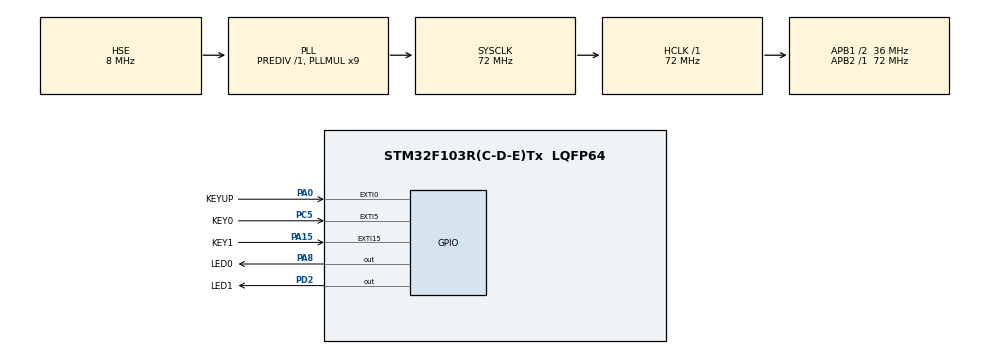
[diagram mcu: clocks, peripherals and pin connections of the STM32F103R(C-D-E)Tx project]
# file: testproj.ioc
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Mcu.Family=STM32F1
Mcu.Name=STM32F103R(C-D-E)Tx
Mcu.Package=LQFP64
NVIC.EXTI0_IRQn=true\:1\:0\:true\:false\:true\:true\:true
NVIC.EXTI15_10_IRQn=true\:1\:2\:true\:false\:true\:true\:true
NVIC.EXTI9_5_IRQn=true\:1\:1\:true\:false\:true\:true\:true
NVIC.PriorityGroup=NVIC_PRIORITYGROUP_2
PA0-WKUP.GPIO_Label=KEYUP
PA0-WKUP.GPIO_PuPd=GPIO_PULLDOWN
PA0-WKUP.Signal=GPXTI0
PA13.Mode=Serial_Wire
PA13.Signal=SYS_JTMS-SWDIO
PA14.Mode=Serial_Wire
PA14.Signal=SYS_JTCK-SWCLK
PA15.GPIO_Label=KEY1
PA15.GPIO_ModeDefaultEXTI=GPIO_MODE_IT_FALLING
PA15.GPIO_PuPd=GPIO_PULLUP
PA15.Signal=GPXTI15
PA8.GPIO_Label=LED0
PA8.Signal=GPIO_Output
PC5.GPIO_Label=KEY0
PC5.GPIO_ModeDefaultEXTI=GPIO_MODE_IT_FALLING
PC5.GPIO_PuPd=GPIO_PULLUP
PC5.Signal=GPXTI5
PD0-OSC_IN.Mode=HSE-External-Oscillator
PD0-OSC_IN.Signal=RCC_OSC_IN
PD1-OSC_OUT.Mode=HSE-External-Oscillator
PD1-OSC_OUT.Signal=RCC_OSC_OUT
PD2.GPIO_Label=LED1
PD2.Signal=GPIO_Output
ProjectManager.HeapSize=0x200
ProjectManager.StackSize=0x400
ProjectManager.TargetToolchain=STM32CubeIDE
RCC.AHBFreq_Value=72000000
RCC.APB1CLKDivider=RCC_HCLK_DIV2
RCC.APB1Freq_Value=36000000
RCC.APB1TimFreq_Value=72000000
RCC.APB2Freq_Value=72000000
RCC.APB2TimFreq_Value=72000000
RCC.HCLKFreq_Value=72000000
RCC.PLLMUL=RCC_PLL_MUL9
RCC.PLLSourceVirtual=RCC_PLLSOURCE_HSE
RCC.SYSCLKFreq_VALUE=72000000
RCC.SYSCLKSource=RCC_SYSCLKSOURCE_PLLCLK
RCC.USBFreq_Value=72000000
board=custom

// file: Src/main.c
/* USER CODE BEGIN Header */
/**
  ******************************************************************************
  * @file           : main.c
  * @brief          : Main program body
  ******************************************************************************
  * @attention
  *
  * <h2><center>&copy; Copyright (c) 2019 STMicroelectronics.
  * All rights reserved.</center></h2>
  *
  * This software component is licensed by ST under BSD 3-Clause license,
  * the "License"; You may not use this file except in compliance with the
  * License. You may obtain a copy of the License at:
  *                        opensource.org/licenses/BSD-3-Clause
  *
  ******************************************************************************
  */
/*rules
 * eliminate all enemy then go to next roundit,and roundit++
 * rank=(roundit-3)>=1?(roundit-3):1;speed=rank;enemynum=roundit<=5?(roundit+2):7;
 * enemy hit:red blink,score+1
 * you hit:green blink,roundit=1,life-1,restart
 * for each restart:
 * 		if life=0 then go to next stage and print score
 * 		else ...
 * 	for each roundit:
 * 		calculate rank,speed,enemynum
 * 		prepare enemy*/
/* USER CODE END Header */

#include "main.h"
#include "gpio.h"

/* USER CODE BEGIN Includes */
#include "lcd.h"
#include <stdlib.h>
#include <stdio.h>
#include<time.h>
/* USER CODE END Includes */

void SystemClock_Config(void);

/* USER CODE BEGIN 0 */
void startpage(void);
void endpage(void);
void play(void);
void HAL_GPIO_EXTI_Callback(uint16_t GPIO_Pin);
void init_eachround(void);
void paintall(void);
void paintscore(int x,int y,int size);
void updatebullets();
void movebullets();
void moveplanes();
void updateenemy();
void hitit();
void updateenemybullets();
void moveenemybullets();
void paintenemybullet(int x, int y);
void dieit();
int kz=0;
int score=0;
int cond=0;
int life=0;
int roundit=0;
int selectcolor=0;
int player[2];
int bullet[10][2];
int enemy[10][2];
int enemynum=0;
int speed=0;
int enemybullet[10][2];
/* USER CODE END 0 */

int main(void)
{

  /* MCU Configuration--------------------------------------------------------*/

  /* Reset of all peripherals, Initializes the Flash interface and the Systick. */
  HAL_Init();

  /* Configure the system clock */
  SystemClock_Config();

  /* USER CODE BEGIN SysInit */
  LCD_Init();
  /* USER CODE END SysInit */

  /* Initialize all configured peripherals */
  MX_GPIO_Init();

  /* Infinite loop */
  while (1)
  {

    /* USER CODE BEGIN 3 */
startpage();
play();
endpage();
  }
  /* USER CODE END 3 */
}

void SystemClock_Config(void)
{
  RCC_OscInitTypeDef RCC_OscInitStruct = {0};
  RCC_ClkInitTypeDef RCC_ClkInitStruct = {0};

  /** Initializes the CPU, AHB and APB busses clocks
  */
  RCC_OscInitStruct.OscillatorType = RCC_OSCILLATORTYPE_HSE;
  RCC_OscInitStruct.HSEState = RCC_HSE_ON;
  RCC_OscInitStruct.HSEPredivValue = RCC_HSE_PREDIV_DIV1;
  RCC_OscInitStruct.HSIState = RCC_HSI_ON;
  RCC_OscInitStruct.PLL.PLLState = RCC_PLL_ON;
  RCC_OscInitStruct.PLL.PLLSource = RCC_PLLSOURCE_HSE;
  RCC_OscInitStruct.PLL.PLLMUL = RCC_PLL_MUL9;
  if (HAL_RCC_OscConfig(&RCC_OscInitStruct) != HAL_OK)
  {
    Error_Handler();
  }
  /** Initializes the CPU, AHB and APB busses clocks
  */
  RCC_ClkInitStruct.ClockType = RCC_CLOCKTYPE_HCLK|RCC_CLOCKTYPE_SYSCLK
                              |RCC_CLOCKTYPE_PCLK1|RCC_CLOCKTYPE_PCLK2;
  RCC_ClkInitStruct.SYSCLKSource = RCC_SYSCLKSOURCE_PLLCLK;
  RCC_ClkInitStruct.AHBCLKDivider = RCC_SYSCLK_DIV1;
  RCC_ClkInitStruct.APB1CLKDivider = RCC_HCLK_DIV2;
  RCC_ClkInitStruct.APB2CLKDivider = RCC_HCLK_DIV1;

  if (HAL_RCC_ClockConfig(&RCC_ClkInitStruct, FLASH_LATENCY_2) != HAL_OK)
  {
    Error_Handler();
  }
}

/* USER CODE BEGIN 4 */
//arm-none-eabi-objcopy "${ProjName}.elf" -O ihex "${ProjName}.hex"
//here key0 is gg,it should be right
void HAL_GPIO_EXTI_Callback(uint16_t GPIO_Pin)
{
HAL_Delay(100);
switch (GPIO_Pin) {
case KEY0_Pin:
if (HAL_GPIO_ReadPin(KEY0_GPIO_Port, KEY0_Pin) == GPIO_PIN_RESET) {

if(cond==1){
	if(player[0]-10 > 5){
		player[0] = player[0]-5;
		paintall();
	}
}
}
break;
//left
case KEY1_Pin:
if (HAL_GPIO_ReadPin(KEY1_GPIO_Port, KEY1_Pin) == GPIO_PIN_RESET) {
	if (cond==0){cond=1;}
	else if(cond==1){
		if(player[0]+10 <220){
			player[0] = player[0]+5;
			paintall();
		}
	}
	else if(cond==2){cond=0;}
}
break;
//fire!
case KEYUP_Pin:
if (HAL_GPIO_ReadPin(KEYUP_GPIO_Port, KEYUP_Pin) == GPIO_PIN_SET) {

	if(cond==1){
		for(int i=0; i<10; i++){
			if(bullet[i][0] == 0){
					bullet[i][0] = player[0];bullet[i][1] = player[1]-22;
					paintall();
					break;
				}
		}
	}
}
break;
default:
break;
}}

//set enemy and plane
void init_eachround(void){
	player[0]=120;player[1]=280;
	if(roundit<=3)enemynum=1;else if(roundit>3&&roundit<=5)enemynum=roundit;else enemynum=6;
	if(roundit<=3)speed=1;else if(roundit>3&&roundit<=6)speed=roundit-2;else speed=4;
	//clear planes
	for(int i=0;i<10;i++){enemybullet[i][0]=0;enemybullet[i][1]=0;}
	for(int i=0;i<10;i++){enemy[i][0]=0;enemy[i][1]=0;}
	for(int i=0;i<10;i++){bullet[i][0]=0;bullet[i][1]=0;}

	LCD_Fill(1,41,239,318,BACK_COLOR);
	//clear bullets
	int startposx1=30;int startposy1=70;
	int startposx2=30;int startposy2=120;
	int rop1=0;int rop2=0;
	if (enemynum<=5){rop1=enemynum;}else if(enemynum>5&&enemynum<=10){rop2=enemynum-5;rop1=5;}
	int gg=rand()%16-8;
	for(int i=0; i<rop1; i++){
			enemy[i][0]=startposx1;enemybullet[i][0]=startposx1+gg;
			enemy[i][1]=startposy1;enemybullet[i][1]=startposy1;
			startposx1+=40;
		}
	if(rop2>0){
		for(int i=0; i<rop2; i++){
					enemy[i+5][0]=startposx2;
					enemy[i+5][1]=startposy2;
					startposx2+=40;
				}
	}
	paintall();
}
//if you don't die, then next roundit
void play(void){
	score=0;
	roundit=1;
	life=3;
	kz=0;
	BACK_COLOR=WHITE;
	LCD_Clear(BACK_COLOR);
		while(1){
			if(kz==0)BACK_COLOR=WHITE;
			if(kz==3)BACK_COLOR=GREEN;
			else if (kz==6)BACK_COLOR=RED;
			else if (kz==9)BACK_COLOR=BLUE;
			LCD_Clear(BACK_COLOR);
			LCD_ShowString(5,8,90,16,16,(uint8_t*)"score");
			LCD_ShowString(135,8,90,16,16,(uint8_t*)"life");
			init_eachround();
			while(1){
				updatebullets();
				updateenemy();
				updateenemybullets();
				dieit();
				hitit();
				paintall();
				if(life<=0){
					cond=2;break;
				}
				if(enemy[0][0]==0){break;}

			}
			kz++;
			kz%=12;
			roundit+=1;
			if(cond!=1)break;
			HAL_Delay(10);
	}
}
void endpage(void){
	LCD_Clear(BACK_COLOR);
	POINT_COLOR = BLACK;
	LCD_ShowString(30, 40, 200, 24, 24, (uint8_t*) "GAMEOVER");
	LCD_ShowString(30, 70, 200, 16, 16, (uint8_t*) "Your score is");
	paintscore(150, 70, 16);

	LCD_ShowString(30, 100, 200, 16, 16, (uint8_t*) "press KEY1 to back");
	while(1){
		if(cond!=2)break;
		}
}
void startpage(void){
	LCD_Clear(BACK_COLOR);
		POINT_COLOR = BLACK;
		LCD_ShowString(30, 40, 200, 24, 24, (uint8_t*) "STM32 SHUMP");
		LCD_ShowString(30, 100, 200, 16, 16, (uint8_t*) "press KEY1 to start");
		while(1){
			if(cond!=0)break;
			}

}
//bullet is 3x3
void updatebullets(){
	for(int i=0; i<10; i++){
		if(bullet[i][0] != 0){
			LCD_Fill(bullet[i][0]-1,bullet[i][1]-1,bullet[i][0]+1,bullet[i][1]+1,BACK_COLOR);
			bullet[i][1] = bullet[i][1] - speed;
			if(bullet[i][1] < 42){bullet[i][0] = 0;bullet[i][1] = 0;movebullets();}
		}
	}

}
void updateenemybullets(){
	for(int i=0; i<10; i++){
		if(enemybullet[i][0] != 0){
			LCD_Fill(enemybullet[i][0]-4,enemybullet[i][1]-4,enemybullet[i][0]+4,enemybullet[i][1]+4,BACK_COLOR);
			enemybullet[i][1] = enemybullet[i][1] + speed*2;
			if(bullet[i][1] > 290){enemybullet[i][0] = 0;enemybullet[i][1] = 0;moveenemybullets();}
		}
	}

}

void updateenemy(){
	for(int i=0; i<10; i++){
		if(enemy[i][0] != 0){
			LCD_Fill(enemy[i][0]-10,enemy[i][1]-20,enemy[i][0]+10,enemy[i][1]+20,BACK_COLOR);
			enemy[i][1] = enemy[i][1] + speed;
			if(enemy[i][1] > 298){enemy[i][0] = 0;enemy[i][1] = 0;moveplanes();}
		}
	}
}

void dieit(){
	for(int i=0; i<10; i++){
		if(enemy[i][0]!=0&&abs(enemy[i][0] - player[0]) <= 20&&abs(enemy[i][1] - player[1]) <= 40){
					LCD_Fill(player[0]-10,player[1]-20,	player[0]+10,player[1]+20,BACK_COLOR);
					LCD_Fill(enemy[i][0]-10,enemy[i][1]-20,enemy[i][0]+10,enemy[i][1]+20,BACK_COLOR);
					player[0] = 120;player[1] = 280;
					enemy[i][0] = 0;enemy[i][1] = 0;
					life-=1;
					HAL_GPIO_TogglePin(LED1_GPIO_Port, LED1_Pin);
					HAL_Delay(50);
					HAL_GPIO_TogglePin(LED1_GPIO_Port, LED1_Pin);
					HAL_Delay(50);
					HAL_GPIO_TogglePin(LED1_GPIO_Port, LED1_Pin);
					HAL_Delay(50);
					HAL_GPIO_TogglePin(LED1_GPIO_Port, LED1_Pin);
					moveplanes();
					break;
		}
	}
	for(int i=0; i<10; i++){
			if(enemybullet[i][0]!=0&&abs(enemybullet[i][0] - player[0]) <= 10&&abs(enemybullet[i][1] - player[1]) <= 20){
						LCD_Fill(player[0]-10,player[1]-20,	player[0]+10,player[1]+20,BACK_COLOR);
						LCD_Fill(enemybullet[i][0]-4,enemybullet[i][1]-4,enemybullet[i][0]+4,enemybullet[i][1]+4,BACK_COLOR);
						player[0] = 120;player[1] = 280;
						enemybullet[i][0] = 0;enemybullet[i][1] = 0;
						life-=1;
						HAL_GPIO_TogglePin(LED1_GPIO_Port, LED1_Pin);
						HAL_Delay(50);
						HAL_GPIO_TogglePin(LED1_GPIO_Port, LED1_Pin);
						HAL_Delay(50);
						HAL_GPIO_TogglePin(LED1_GPIO_Port, LED1_Pin);
						HAL_Delay(50);
						HAL_GPIO_TogglePin(LED1_GPIO_Port, LED1_Pin);
						moveenemybullets();
						break;
			}
		}
}

void hitit(){
	int hitit=0;
	for(int i=0; i<10; i++){
		if (hitit==1)break;
		if(enemy[i][0] != 0){
			for(int j=0; j<10; j++){
				if(abs(bullet[j][0] - enemy[i][0]) <= 12&&abs(bullet[j][1] - enemy[i][1]) <= 22){
						LCD_Fill(enemy[i][0]-10,enemy[i][1]-20,enemy[i][0]+10,enemy[i][1]+20,BACK_COLOR);
						bullet[j][0] = 0;bullet[j][1] = 0;
						enemy[i][0] = 0;enemy[i][1] = 0;
						score+=1;
						HAL_GPIO_TogglePin(LED0_GPIO_Port, LED0_Pin);
						HAL_Delay(50);
						HAL_GPIO_TogglePin(LED0_GPIO_Port, LED0_Pin);
						HAL_Delay(50);
						HAL_GPIO_TogglePin(LED0_GPIO_Port, LED0_Pin);
						HAL_Delay(50);
						HAL_GPIO_TogglePin(LED0_GPIO_Port, LED0_Pin);
						moveplanes();
						movebullets();
						hitit=1;
						break;
				}
			}
		}
	}

}
void moveenemybullets(){
	if(enemybullet[0][0] == 0){
		for(int i=0; i<9; i++){
			enemybullet[i][0] = enemybullet[i+1][0];
			enemybullet[i][1] = enemybullet[i+1][1];
		}
	}
}

void movebullets(){
	if(bullet[0][0] == 0){
		for(int i=0; i<9; i++){
			bullet[i][0] = bullet[i+1][0];
			bullet[i][1] = bullet[i+1][1];
		}
	}
}

void moveplanes(){
	if(enemy[0][0] == 0){
		for(int i=0; i<9; i++){
			enemy[i][0] = enemy[i+1][0];
			enemy[i][1] = enemy[i+1][1];
		}
	}
}

void paintbullet(int x, int y){
	LCD_DrawLine(x-1,y,x+1,y);
	LCD_DrawLine(x,y-1,x,y+1);
}
void paintenemybullet(int x, int y){
	LCD_DrawLine(x-2,y,x+2,y);
	LCD_DrawLine(x,y-2,x,y+2);
}
void paintplayer(){
	int x=player[0];
	int y=player[1];
	if(x!=0&&y!=0){
		LCD_Fill(x-20,y-25,x+20,y+25,BACK_COLOR);
		LCD_DrawLine(x-11,y+4,x+11,y+4);
		LCD_DrawLine(x,y-20,x,y+20);
		LCD_DrawLine(x-5,y+20,x+5,y+20);
		LCD_DrawLine(x-11,y+4,x,y-20);
		LCD_DrawLine(x+11,y+4,x,y-20);
		LCD_DrawLine(x-5,y+20,x,y-20);
		LCD_DrawLine(x+5,y+20,x,y-20);
	}
}
void paintenemy(int x,int y){
	if(x!=0&&y!=0){
			LCD_Fill(x-20,y-25,x+20,y+25,BACK_COLOR);
			LCD_DrawLine(x-11,y+4,x+11,y+4);
			LCD_DrawLine(x,y-20,x,y+20);
			LCD_DrawLine(x-5,y-20,x+5,y-20);
		}
}

void paintscore(int x, int y, int size){
	char sc[10];
	itoa(score,sc,10);
	LCD_ShowString(x, y, 200, 16, size, (uint8_t*) sc);
}

void paintall(){
	paintscore(75,8,24);
	LCD_Fill(190,15,226,25,BACK_COLOR);
	for(int i=0; i<life; i++){
		LCD_DrawLine(181+i*14,15, 189+i*14,25);
		LCD_DrawLine(181+i*14,25, 189+i*14,15);
	}
	paintplayer();
	for(int i=0; i<10; i++){
			if(bullet[i][0] == 0)continue;
			else paintbullet(bullet[i][0],bullet[i][1]);
		}
	for(int i=0; i<10; i++){
				if(enemybullet[i][0] == 0)continue;
				else paintenemybullet(enemybullet[i][0],enemybullet[i][1]);
			}
	for(int i=0; i<10; i++){
		if(enemy[i][0] == 0)continue;
		else paintenemy(enemy[i][0],enemy[i][1]);
	}
}

/* USER CODE END 4 */

void Error_Handler(void)
{
}

/************************ (C) COPYRIGHT STMicroelectronics *****END OF FILE****/
